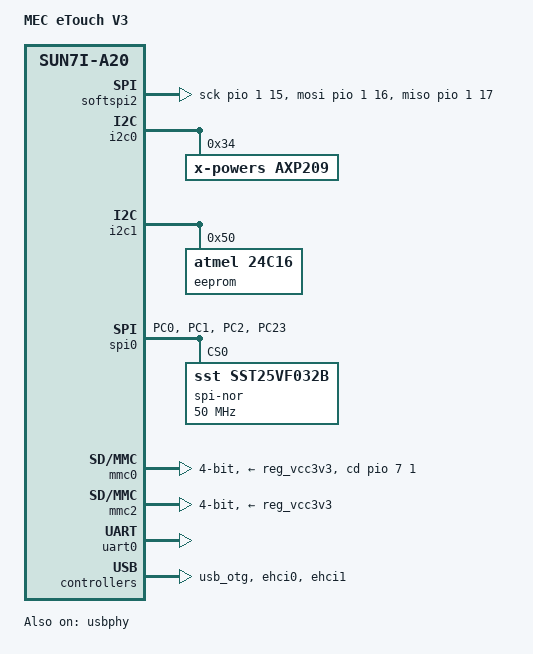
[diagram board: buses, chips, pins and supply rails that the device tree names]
/dts-v1/; 
#include "sun7i-a20.dtsi"
#include "sunxi-common-regulators.dtsi"

#include <dt-bindings/gpio/gpio.h>
#include <dt-bindings/interrupt-controller/irq.h>
#include <dt-bindings/pinctrl/sun4i-a10.h>

/ {
	model = "MEC eTouch V3";
	compatible = "olimex,a20-olinuxino-lime", "allwinner,sun7i-a20";

	aliases {
		serial0 = &uart0;
		spi0 = &spi0;
		spi2 = &softspi2;
	};

	chosen {
		stdout-path = "serial0:115200n8";
		
	};

	/* we need soft-spi because sunxi-spi doesn't support 9bit mode */
	softspi2: soft-spi2 {
                compatible = "spi-gpio";
		spi-3wire;
                cs-gpios = <&pio 1 14 GPIO_ACTIVE_LOW>;
                gpio-sck = <&pio 1 15 GPIO_ACTIVE_HIGH>;
                gpio-mosi = <&pio 1 16 GPIO_ACTIVE_HIGH>;
                gpio-miso = <&pio 1 17 GPIO_ACTIVE_HIGH>;
                spi-delay-us = <1>;
                cs@0 {
                };
        };
};

&i2c0 {
	status = "okay";

	axp209: pmic@34 {
		compatible = "x-powers,axp209";
                reg = <0x34>;
                interrupt-parent = <&nmi_intc>;
                interrupts = <0 IRQ_TYPE_LEVEL_LOW>;

                interrupt-controller;
                #interrupt-cells = <1>;

        };
};

&i2c1 {
	status = "okay";

	eeprom: eeprom@50 {
		compatible = "atmel,24c16";
		reg = <0x50>;
		pagesize = <16>;
	};
};

&spi0 {
	pinctrl-names = "default";
	pinctrl-0 = <&spi0_pins_pc>,
				<&spi0_cs0_pins_pc>;
	status = "okay";
	#address-cells = <1>;
	#size-cells = <0>;
	spi-nor@0 {
			compatible = "sst,sst25vf032b", "spansion,s25fl132k", "jedec,spi-nor";
			spi-max-frequency = <50000000>;
			reg = <0>;
	};
};

&pio {
	spi0_pins_pc: spi0_pins_pc {
		pins = "PC0", "PC1", "PC2";
		function = "spi0";
	};

	spi0_cs0_pins_pc: spi0_cs0_pins_pc {
		pins = "PC23";
		function = "spi0";
	};
};

&mmc0 {
	vmmc-supply = <&reg_vcc3v3>;
	bus-width = <4>;
	cd-gpios = <&pio 7 1 GPIO_ACTIVE_HIGH>;
	status = "okay";
};

&mmc2 {
	vmmc-supply = <&reg_vcc3v3>;
	bus-width = <4>;
	cd-inverted;
	broken-hpi;
	status = "okay";
};

&otg_sram {
	status = "okay";
};

&uart0 {
	status = "okay";
};
/*
&ohci0 {
	status="okay";
};
&ohci1 {
	status="okay";
};
*/

&usb_otg {
	status="okay";
};
&ehci0 {
	status="okay";
};
&ehci1 {
	status="okay";
};
&usbphy {
	status="okay";
};
